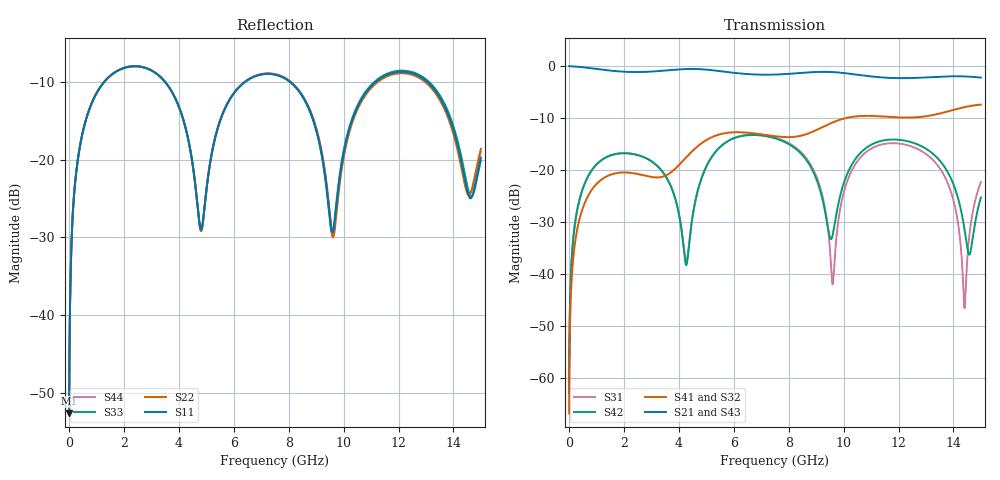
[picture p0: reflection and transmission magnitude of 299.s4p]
! Created with skrf 1.8.0 (http://scikit-rf.org).
# GHz S RI R 50.0
!freq ReS11 ImS11 ReS12 ImS12 ReS13 ImS13
! ReS14 ImS14
! ReS21 ImS21 ReS22 ImS22 ReS23 ImS23
! ReS24 ImS24
! ReS31 ImS31 ReS32 ImS32 ReS33 ImS33
! ReS34 ImS34
! ReS41 ImS41 ReS42 ImS42 ReS43 ImS43
! ReS44 ImS44
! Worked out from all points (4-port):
!   2499 points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, 5 MHz to 15 GHz, reference 50 ohm
!   strongest paths, dB at 5 MHz, 3.476 GHz, 7.19 GHz, 11.1 GHz, 15 GHz:
!     S21: 0.0, -0.9, -1.7, -2.0, -2.2
!     S43: 0.0, -0.9, -1.7, -2.1, -2.2
!     S41: -66.9, -21.2, -13.3, -9.6, -7.4
!     S32: -66.9, -21.2, -13.3, -9.6, -7.4
!     S42: -63.1, -20.9, -13.5, -14.9, -25.3
!     S31: -63.1, -20.8, -13.4, -15.6, -22.3
!   lowest |S11| = -52.6 dB at 5 MHz (marker M1), VSWR 1.00, Z = 50.2 + j0.143 ohm
!   |S11| at or under -10 dB: 3.494 GHz to 6.426 GHz (2.932 GHz wide, 59.1 % of centre); 8.039 GHz to 11.18 GHz (3.14 GHz wide, 32.7 % of centre); 13.04 GHz to end of sweep (the widest 3 of 4)
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0.005  0.00186 0.00142  0.9981 -0.00363  9.29e-05 0.000697  -9.04e-05 -0.000444
       0.9981 -0.00363  0.00186 0.00142  -9.04e-05 -0.000444  9.29e-05 0.000697
       9.29e-05 0.000697  -9.04e-05 -0.000444  0.00186 0.00142  0.9981 -0.00363
       -9.04e-05 -0.000444  9.29e-05 0.000697  0.9981 -0.00363  0.00186 0.00142
1.469362  0.2953 0.1702  0.4965 -0.7589  0.1276 0.0493  -0.089 0.00172
          0.4965 -0.7589  0.2955 0.1699  -0.089 0.00169  0.1273 0.0498
          0.1276 0.0493  -0.089 0.00169  0.2952 0.1701  0.4965 -0.7589
          -0.089 0.00172  0.1273 0.0498  0.4965 -0.7589  0.2954 0.1699
4.270529  0.0805 -0.1311  -0.8488 -0.3953  -0.0126 -0.00358  -0.052 0.1217
          -0.8488 -0.3953  0.0796 -0.1317  -0.0524 0.1215  -0.0117 -0.00294
          -0.0126 -0.00358  -0.0524 0.1215  0.0798 -0.1302  -0.8491 -0.3952
          -0.052 0.1217  -0.0117 -0.00294  -0.8491 -0.3952  0.0793 -0.1306
7.259275  0.3545 -0.0104  -0.0959 0.8204  0.2018 -0.066  0.2062 -0.0616
          -0.0959 0.8204  0.3567 -0.0122  0.2061 -0.0606  0.201 -0.0585
          0.2018 -0.066  0.2061 -0.0606  0.355 -0.00993  -0.0967 0.8203
          0.2062 -0.0616  0.201 -0.0585  -0.0967 0.8203  0.3567 -0.0118
9.947895  0.0536 0.0813  0.8591 -0.0494  0.0388 0.0353  -0.0333 -0.3071
          0.8591 -0.0494  0.0501 0.0753  -0.0314 -0.3073  0.0562 0.0352
          0.0388 0.0353  -0.0314 -0.3073  0.0542 0.0853  0.8588 -0.0487
          -0.0333 -0.3071  0.0562 0.0352  0.8588 -0.0487  0.0502 0.0792
14.406  0.0631 -0.0422  -0.7595 -0.2359  -0.00343 0.00319  -0.1099 0.3873
        -0.7595 -0.2359  0.0636 -0.0295  -0.1139 0.386  -0.0258 -0.00581
        -0.00343 0.00319  -0.1139 0.386  0.0661 -0.049  -0.7564 -0.2443
        -0.1099 0.3873  -0.0258 -0.00581  -0.7564 -0.2443  0.067 -0.0362
15  0.0731 0.0725  -0.7709 0.0793  0.07 0.0304  0.0599 0.4211
    -0.7709 0.0793  0.0802 0.0854  0.0554 0.4215  0.0448 0.0305
    0.07 0.0304  0.0554 0.4215  0.0725 0.067  -0.7724 0.0704
    0.0599 0.4211  0.0448 0.0305  -0.7724 0.0704  0.0791 0.0797
